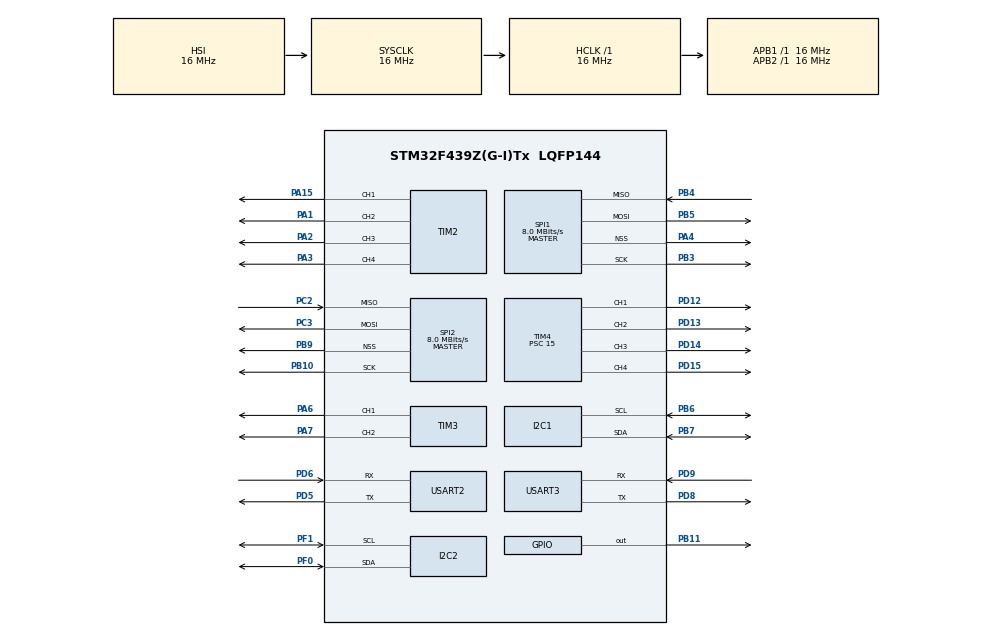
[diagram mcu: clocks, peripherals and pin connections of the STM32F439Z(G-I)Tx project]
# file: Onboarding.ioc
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Mcu.Family=STM32F4
Mcu.Name=STM32F439Z(G-I)Tx
Mcu.Package=LQFP144
NVIC.PriorityGroup=NVIC_PRIORITYGROUP_4
NVIC.TIM4_IRQn=true\:0\:0\:false\:false\:true\:true\:true\:true
PA0/WKUP.Mode=SYS_WakeUp0
PA0/WKUP.Signal=SYS_WKUP
PA1.Signal=S_TIM2_CH2
PA13.Signal=SYS_JTMS-SWDIO
PA14.Signal=SYS_JTCK-SWCLK
PA15.Signal=S_TIM2_CH1_ETR
PA2.Signal=S_TIM2_CH3
PA3.Signal=S_TIM2_CH4
PA4.Mode=NSS_Signal_Hard_Output
PA4.Signal=SPI1_NSS
PA6.Signal=S_TIM3_CH1
PA7.Signal=S_TIM3_CH2
PB10.Mode=Full_Duplex_Master
PB10.Signal=SPI2_SCK
PB11.GPIO_ModeDefaultOutputPP=GPIO_MODE_OUTPUT_OD
PB11.GPIO_PuPd=GPIO_NOPULL
PB11.GPIO_Speed=GPIO_SPEED_FREQ_VERY_HIGH
PB11.Signal=GPIO_Output
PB3.Mode=Full_Duplex_Master
PB3.Signal=SPI1_SCK
PB4.Mode=Full_Duplex_Master
PB4.Signal=SPI1_MISO
PB5.Mode=Full_Duplex_Master
PB5.Signal=SPI1_MOSI
PB6.Mode=I2C
PB6.Signal=I2C1_SCL
PB7.Mode=I2C
PB7.Signal=I2C1_SDA
PB9.Mode=NSS_Signal_Hard_Output
PB9.Signal=SPI2_NSS
PC2.Mode=Full_Duplex_Master
PC2.Signal=SPI2_MISO
PC3.Mode=Full_Duplex_Master
PC3.Signal=SPI2_MOSI
PD12.Signal=S_TIM4_CH1
PD13.Signal=S_TIM4_CH2
PD14.Signal=S_TIM4_CH3
PD15.Signal=S_TIM4_CH4
PD5.Mode=Asynchronous
PD5.Signal=USART2_TX
PD6.Mode=Asynchronous
PD6.Signal=USART2_RX
PD8.Mode=Asynchronous
PD8.Signal=USART3_TX
PD9.Mode=Asynchronous
PD9.Signal=USART3_RX
PF0.Mode=I2C
PF0.Signal=I2C2_SDA
PF1.Mode=I2C
PF1.Signal=I2C2_SCL
ProjectManager.HeapSize=0x200
ProjectManager.StackSize=0x400
ProjectManager.TargetToolchain=STM32CubeIDE
RCC.48MHZClocksFreq_Value=48000000
RCC.AHBFreq_Value=16000000
RCC.APB1Freq_Value=16000000
RCC.APB2Freq_Value=16000000
RCC.CortexFreq_Value=16000000
RCC.HSE_VALUE=25000000
RCC.HSI_VALUE=16000000
RCC.LSE_VALUE=32768
RCC.PLLM=15
RCC.PLLN=144
RCC.PLLQ=5
RCC.PLLSourceVirtual=RCC_PLLSOURCE_HSE
RCC.SYSCLKFreq_VALUE=16000000
RCC.VCOOutputFreq_Value=240000000
SH.S_TIM2_CH1_ETR.0=TIM2_CH1,Output Compare1 CH1
SH.S_TIM2_CH2.0=TIM2_CH2,Output Compare2 CH2
SH.S_TIM2_CH3.0=TIM2_CH3,Output Compare3 CH3
SH.S_TIM2_CH4.0=TIM2_CH4,Output Compare4 CH4
SH.S_TIM3_CH1.0=TIM3_CH1,Output Compare1 CH1
SH.S_TIM3_CH2.0=TIM3_CH2,Output Compare2 CH2
SH.S_TIM4_CH1.0=TIM4_CH1,Output Compare1 CH1
SH.S_TIM4_CH2.0=TIM4_CH2,Output Compare2 CH2
SH.S_TIM4_CH3.0=TIM4_CH3,Output Compare3 CH3
SH.S_TIM4_CH4.0=TIM4_CH4,Output Compare4 CH4
SPI1.CalculateBaudRate=8.0 MBits/s
SPI1.Direction=SPI_DIRECTION_2LINES
SPI1.Mode=SPI_MODE_MASTER
SPI1.VirtualNSS=VM_NSSHARD
SPI1.VirtualType=VM_MASTER
SPI2.CalculateBaudRate=8.0 MBits/s
SPI2.Direction=SPI_DIRECTION_2LINES
SPI2.Mode=SPI_MODE_MASTER
SPI2.VirtualNSS=VM_NSSHARD
SPI2.VirtualType=VM_MASTER
TIM2.Channel-Output\ Compare1\ CH1=TIM_CHANNEL_1
TIM2.Channel-Output\ Compare2\ CH2=TIM_CHANNEL_2
TIM2.Channel-Output\ Compare3\ CH3=TIM_CHANNEL_3
TIM2.Channel-Output\ Compare4\ CH4=TIM_CHANNEL_4
TIM3.Channel-Output\ Compare1\ CH1=TIM_CHANNEL_1
TIM3.Channel-Output\ Compare2\ CH2=TIM_CHANNEL_2
TIM4.Channel-Output\ Compare1\ CH1=TIM_CHANNEL_1
TIM4.Channel-Output\ Compare2\ CH2=TIM_CHANNEL_2
TIM4.Channel-Output\ Compare3\ CH3=TIM_CHANNEL_3
TIM4.Channel-Output\ Compare4\ CH4=TIM_CHANNEL_4
TIM4.Prescaler=15
USART2.VirtualMode=VM_ASYNC
USART3.VirtualMode=VM_ASYNC
VP_TIM2_VS_ClockSourceINT.Mode=Internal
VP_TIM3_VS_ClockSourceINT.Mode=Internal
VP_TIM4_VS_ClockSourceINT.Mode=Internal
board=custom

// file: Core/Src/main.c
/* USER CODE BEGIN Header */
/**
  ******************************************************************************
  * @file           : main.c
  * @brief          : Main program body
  ******************************************************************************
  * @attention
  *
  * Copyright (c) 2025 STMicroelectronics.
  * All rights reserved.
  *
  * This software is licensed under terms that can be found in the LICENSE file
  * in the root directory of this software component.
  * If no LICENSE file comes with this software, it is provided AS-IS.
  *
  ******************************************************************************
  */
/* USER CODE END Header */
#include "main.h"

/* USER CODE BEGIN Includes */
#include "usbd_cdc_if.h"
#include "timer.h"
#include "probe.h"
/* USER CODE END Includes */

I2C_HandleTypeDef hi2c1;
I2C_HandleTypeDef hi2c2;

SPI_HandleTypeDef hspi1;
SPI_HandleTypeDef hspi2;

TIM_HandleTypeDef htim2;
TIM_HandleTypeDef htim3;
TIM_HandleTypeDef htim4;

UART_HandleTypeDef huart2;
UART_HandleTypeDef huart3;

/* USER CODE BEGIN PV */
uint8_t buffer[64];
/* USER CODE END PV */

void SystemClock_Config(void);
static void MX_GPIO_Init(void);
static void MX_TIM4_Init(void);
static void MX_USART3_UART_Init(void);
static void MX_I2C1_Init(void);
static void MX_I2C2_Init(void);
static void MX_SPI1_Init(void);
static void MX_SPI2_Init(void);
static void MX_TIM2_Init(void);
static void MX_TIM3_Init(void);
static void MX_USART2_UART_Init(void);

int main(void)
{

  /* MCU Configuration--------------------------------------------------------*/

  /* Reset of all peripherals, Initializes the Flash interface and the Systick. */
  HAL_Init();

  /* Configure the system clock */
  SystemClock_Config();

  /* Initialize all configured peripherals */
  MX_GPIO_Init();
  MX_TIM4_Init();
  MX_USART3_UART_Init();
  MX_I2C1_Init();
  MX_I2C2_Init();
  MX_SPI1_Init();
  MX_SPI2_Init();
  MX_TIM2_Init();
  MX_TIM3_Init();
  MX_USART2_UART_Init();
  /* USER CODE BEGIN 2 */
  //TempProbe_Init(GPIOB, GPIO_PIN_9);
  //TempProbe_Start();
  timer_init();
  uint8_t message[] = "Not Connected\n\r";
  uint32_t response = 0;
  uint8_t response_byte = 0;
  /* USER CODE END 2 */

  /* Infinite loop */
  while (1)
  {

    /* USER CODE BEGIN 3 */
	  GPIOB->ODR |= GPIO_PIN_11;
	  HAL_Delay(1000);
	  GPIOB->ODR &= ~GPIO_PIN_11;
	  timer_delay(500);
	  GPIOB->ODR |= GPIO_PIN_11;
	  timer_delay(100);
	  response = (GPIOB->IDR & GPIO_PIN_11) >> 11;
	  timer_delay(500);
	  if(response){
		  //not connected
		  HAL_UART_Transmit(&huart3, message, sizeof(message), 1);
	  }else{
		  //connected
		  probe_write_byte(0xCC);
		  probe_write_byte(0x44);
		  HAL_Delay(1000);
		  probe_write_byte(0xBE);
		  response_byte = probe_read_byte();

		  HAL_UART_Transmit(&huart3, response_byte, sizeof(response_byte), 1);
	  }
	  //HAL_UART_Transmit(&huart3, message, sizeof(message), 1);
	  //CDC_Transmit_FS(message, sizeof(message) - 1);
  }
  /* USER CODE END 3 */
}

void SystemClock_Config(void)
{
  RCC_OscInitTypeDef RCC_OscInitStruct = {0};
  RCC_ClkInitTypeDef RCC_ClkInitStruct = {0};

  /** Configure the main internal regulator output voltage
  */
  __HAL_RCC_PWR_CLK_ENABLE();
  __HAL_PWR_VOLTAGESCALING_CONFIG(PWR_REGULATOR_VOLTAGE_SCALE3);

  /** Initializes the RCC Oscillators according to the specified parameters
  * in the RCC_OscInitTypeDef structure.
  */
  RCC_OscInitStruct.OscillatorType = RCC_OSCILLATORTYPE_HSI;
  RCC_OscInitStruct.HSIState = RCC_HSI_ON;
  RCC_OscInitStruct.HSICalibrationValue = RCC_HSICALIBRATION_DEFAULT;
  RCC_OscInitStruct.PLL.PLLState = RCC_PLL_NONE;
  if (HAL_RCC_OscConfig(&RCC_OscInitStruct) != HAL_OK)
  {
    Error_Handler();
  }

  /** Initializes the CPU, AHB and APB buses clocks
  */
  RCC_ClkInitStruct.ClockType = RCC_CLOCKTYPE_HCLK|RCC_CLOCKTYPE_SYSCLK
                              |RCC_CLOCKTYPE_PCLK1|RCC_CLOCKTYPE_PCLK2;
  RCC_ClkInitStruct.SYSCLKSource = RCC_SYSCLKSOURCE_HSI;
  RCC_ClkInitStruct.AHBCLKDivider = RCC_SYSCLK_DIV1;
  RCC_ClkInitStruct.APB1CLKDivider = RCC_HCLK_DIV1;
  RCC_ClkInitStruct.APB2CLKDivider = RCC_HCLK_DIV1;

  if (HAL_RCC_ClockConfig(&RCC_ClkInitStruct, FLASH_LATENCY_0) != HAL_OK)
  {
    Error_Handler();
  }
}

static void MX_I2C1_Init(void)
{

  hi2c1.Instance = I2C1;
  hi2c1.Init.ClockSpeed = 100000;
  hi2c1.Init.DutyCycle = I2C_DUTYCYCLE_2;
  hi2c1.Init.OwnAddress1 = 0;
  hi2c1.Init.AddressingMode = I2C_ADDRESSINGMODE_7BIT;
  hi2c1.Init.DualAddressMode = I2C_DUALADDRESS_DISABLE;
  hi2c1.Init.OwnAddress2 = 0;
  hi2c1.Init.GeneralCallMode = I2C_GENERALCALL_DISABLE;
  hi2c1.Init.NoStretchMode = I2C_NOSTRETCH_DISABLE;
  if (HAL_I2C_Init(&hi2c1) != HAL_OK)
  {
    Error_Handler();
  }

  /** Configure Analogue filter
  */
  if (HAL_I2CEx_ConfigAnalogFilter(&hi2c1, I2C_ANALOGFILTER_ENABLE) != HAL_OK)
  {
    Error_Handler();
  }

  /** Configure Digital filter
  */
  if (HAL_I2CEx_ConfigDigitalFilter(&hi2c1, 0) != HAL_OK)
  {
    Error_Handler();
  }

}

static void MX_I2C2_Init(void)
{

  hi2c2.Instance = I2C2;
  hi2c2.Init.ClockSpeed = 100000;
  hi2c2.Init.DutyCycle = I2C_DUTYCYCLE_2;
  hi2c2.Init.OwnAddress1 = 0;
  hi2c2.Init.AddressingMode = I2C_ADDRESSINGMODE_7BIT;
  hi2c2.Init.DualAddressMode = I2C_DUALADDRESS_DISABLE;
  hi2c2.Init.OwnAddress2 = 0;
  hi2c2.Init.GeneralCallMode = I2C_GENERALCALL_DISABLE;
  hi2c2.Init.NoStretchMode = I2C_NOSTRETCH_DISABLE;
  if (HAL_I2C_Init(&hi2c2) != HAL_OK)
  {
    Error_Handler();
  }

  /** Configure Analogue filter
  */
  if (HAL_I2CEx_ConfigAnalogFilter(&hi2c2, I2C_ANALOGFILTER_ENABLE) != HAL_OK)
  {
    Error_Handler();
  }

  /** Configure Digital filter
  */
  if (HAL_I2CEx_ConfigDigitalFilter(&hi2c2, 0) != HAL_OK)
  {
    Error_Handler();
  }

}

static void MX_SPI1_Init(void)
{

  /* SPI1 parameter configuration*/
  hspi1.Instance = SPI1;
  hspi1.Init.Mode = SPI_MODE_MASTER;
  hspi1.Init.Direction = SPI_DIRECTION_2LINES;
  hspi1.Init.DataSize = SPI_DATASIZE_8BIT;
  hspi1.Init.CLKPolarity = SPI_POLARITY_LOW;
  hspi1.Init.CLKPhase = SPI_PHASE_1EDGE;
  hspi1.Init.NSS = SPI_NSS_HARD_OUTPUT;
  hspi1.Init.BaudRatePrescaler = SPI_BAUDRATEPRESCALER_2;
  hspi1.Init.FirstBit = SPI_FIRSTBIT_MSB;
  hspi1.Init.TIMode = SPI_TIMODE_DISABLE;
  hspi1.Init.CRCCalculation = SPI_CRCCALCULATION_DISABLE;
  hspi1.Init.CRCPolynomial = 10;
  if (HAL_SPI_Init(&hspi1) != HAL_OK)
  {
    Error_Handler();
  }

}

static void MX_SPI2_Init(void)
{

  /* SPI2 parameter configuration*/
  hspi2.Instance = SPI2;
  hspi2.Init.Mode = SPI_MODE_MASTER;
  hspi2.Init.Direction = SPI_DIRECTION_2LINES;
  hspi2.Init.DataSize = SPI_DATASIZE_8BIT;
  hspi2.Init.CLKPolarity = SPI_POLARITY_LOW;
  hspi2.Init.CLKPhase = SPI_PHASE_1EDGE;
  hspi2.Init.NSS = SPI_NSS_HARD_OUTPUT;
  hspi2.Init.BaudRatePrescaler = SPI_BAUDRATEPRESCALER_2;
  hspi2.Init.FirstBit = SPI_FIRSTBIT_MSB;
  hspi2.Init.TIMode = SPI_TIMODE_DISABLE;
  hspi2.Init.CRCCalculation = SPI_CRCCALCULATION_DISABLE;
  hspi2.Init.CRCPolynomial = 10;
  if (HAL_SPI_Init(&hspi2) != HAL_OK)
  {
    Error_Handler();
  }

}

static void MX_TIM2_Init(void)
{

  TIM_ClockConfigTypeDef sClockSourceConfig = {0};
  TIM_MasterConfigTypeDef sMasterConfig = {0};
  TIM_OC_InitTypeDef sConfigOC = {0};

  htim2.Instance = TIM2;
  htim2.Init.Prescaler = 0;
  htim2.Init.CounterMode = TIM_COUNTERMODE_UP;
  htim2.Init.Period = 4294967295;
  htim2.Init.ClockDivision = TIM_CLOCKDIVISION_DIV1;
  htim2.Init.AutoReloadPreload = TIM_AUTORELOAD_PRELOAD_DISABLE;
  if (HAL_TIM_Base_Init(&htim2) != HAL_OK)
  {
    Error_Handler();
  }
  sClockSourceConfig.ClockSource = TIM_CLOCKSOURCE_INTERNAL;
  if (HAL_TIM_ConfigClockSource(&htim2, &sClockSourceConfig) != HAL_OK)
  {
    Error_Handler();
  }
  if (HAL_TIM_OC_Init(&htim2) != HAL_OK)
  {
    Error_Handler();
  }
  sMasterConfig.MasterOutputTrigger = TIM_TRGO_RESET;
  sMasterConfig.MasterSlaveMode = TIM_MASTERSLAVEMODE_DISABLE;
  if (HAL_TIMEx_MasterConfigSynchronization(&htim2, &sMasterConfig) != HAL_OK)
  {
    Error_Handler();
  }
  sConfigOC.OCMode = TIM_OCMODE_TIMING;
  sConfigOC.Pulse = 0;
  sConfigOC.OCPolarity = TIM_OCPOLARITY_HIGH;
  sConfigOC.OCFastMode = TIM_OCFAST_DISABLE;
  if (HAL_TIM_OC_ConfigChannel(&htim2, &sConfigOC, TIM_CHANNEL_1) != HAL_OK)
  {
    Error_Handler();
  }
  if (HAL_TIM_OC_ConfigChannel(&htim2, &sConfigOC, TIM_CHANNEL_2) != HAL_OK)
  {
    Error_Handler();
  }
  if (HAL_TIM_OC_ConfigChannel(&htim2, &sConfigOC, TIM_CHANNEL_3) != HAL_OK)
  {
    Error_Handler();
  }
  if (HAL_TIM_OC_ConfigChannel(&htim2, &sConfigOC, TIM_CHANNEL_4) != HAL_OK)
  {
    Error_Handler();
  }
  HAL_TIM_MspPostInit(&htim2);

}

static void MX_TIM3_Init(void)
{

  TIM_ClockConfigTypeDef sClockSourceConfig = {0};
  TIM_MasterConfigTypeDef sMasterConfig = {0};
  TIM_OC_InitTypeDef sConfigOC = {0};

  htim3.Instance = TIM3;
  htim3.Init.Prescaler = 0;
  htim3.Init.CounterMode = TIM_COUNTERMODE_UP;
  htim3.Init.Period = 65535;
  htim3.Init.ClockDivision = TIM_CLOCKDIVISION_DIV1;
  htim3.Init.AutoReloadPreload = TIM_AUTORELOAD_PRELOAD_DISABLE;
  if (HAL_TIM_Base_Init(&htim3) != HAL_OK)
  {
    Error_Handler();
  }
  sClockSourceConfig.ClockSource = TIM_CLOCKSOURCE_INTERNAL;
  if (HAL_TIM_ConfigClockSource(&htim3, &sClockSourceConfig) != HAL_OK)
  {
    Error_Handler();
  }
  if (HAL_TIM_OC_Init(&htim3) != HAL_OK)
  {
    Error_Handler();
  }
  sMasterConfig.MasterOutputTrigger = TIM_TRGO_RESET;
  sMasterConfig.MasterSlaveMode = TIM_MASTERSLAVEMODE_DISABLE;
  if (HAL_TIMEx_MasterConfigSynchronization(&htim3, &sMasterConfig) != HAL_OK)
  {
    Error_Handler();
  }
  sConfigOC.OCMode = TIM_OCMODE_TIMING;
  sConfigOC.Pulse = 0;
  sConfigOC.OCPolarity = TIM_OCPOLARITY_HIGH;
  sConfigOC.OCFastMode = TIM_OCFAST_DISABLE;
  if (HAL_TIM_OC_ConfigChannel(&htim3, &sConfigOC, TIM_CHANNEL_1) != HAL_OK)
  {
    Error_Handler();
  }
  if (HAL_TIM_OC_ConfigChannel(&htim3, &sConfigOC, TIM_CHANNEL_2) != HAL_OK)
  {
    Error_Handler();
  }
  HAL_TIM_MspPostInit(&htim3);

}

static void MX_TIM4_Init(void)
{

  TIM_ClockConfigTypeDef sClockSourceConfig = {0};
  TIM_MasterConfigTypeDef sMasterConfig = {0};
  TIM_OC_InitTypeDef sConfigOC = {0};

  htim4.Instance = TIM4;
  htim4.Init.Prescaler = 15;
  htim4.Init.CounterMode = TIM_COUNTERMODE_UP;
  htim4.Init.Period = 65535;
  htim4.Init.ClockDivision = TIM_CLOCKDIVISION_DIV1;
  htim4.Init.AutoReloadPreload = TIM_AUTORELOAD_PRELOAD_DISABLE;
  if (HAL_TIM_Base_Init(&htim4) != HAL_OK)
  {
    Error_Handler();
  }
  sClockSourceConfig.ClockSource = TIM_CLOCKSOURCE_INTERNAL;
  if (HAL_TIM_ConfigClockSource(&htim4, &sClockSourceConfig) != HAL_OK)
  {
    Error_Handler();
  }
  if (HAL_TIM_OC_Init(&htim4) != HAL_OK)
  {
    Error_Handler();
  }
  sMasterConfig.MasterOutputTrigger = TIM_TRGO_RESET;
  sMasterConfig.MasterSlaveMode = TIM_MASTERSLAVEMODE_DISABLE;
  if (HAL_TIMEx_MasterConfigSynchronization(&htim4, &sMasterConfig) != HAL_OK)
  {
    Error_Handler();
  }
  sConfigOC.OCMode = TIM_OCMODE_TIMING;
  sConfigOC.Pulse = 0;
  sConfigOC.OCPolarity = TIM_OCPOLARITY_HIGH;
  sConfigOC.OCFastMode = TIM_OCFAST_DISABLE;
  if (HAL_TIM_OC_ConfigChannel(&htim4, &sConfigOC, TIM_CHANNEL_1) != HAL_OK)
  {
    Error_Handler();
  }
  if (HAL_TIM_OC_ConfigChannel(&htim4, &sConfigOC, TIM_CHANNEL_2) != HAL_OK)
  {
    Error_Handler();
  }
  if (HAL_TIM_OC_ConfigChannel(&htim4, &sConfigOC, TIM_CHANNEL_3) != HAL_OK)
  {
    Error_Handler();
  }
  if (HAL_TIM_OC_ConfigChannel(&htim4, &sConfigOC, TIM_CHANNEL_4) != HAL_OK)
  {
    Error_Handler();
  }
  HAL_TIM_MspPostInit(&htim4);

}

static void MX_USART2_UART_Init(void)
{

  huart2.Instance = USART2;
  huart2.Init.BaudRate = 115200;
  huart2.Init.WordLength = UART_WORDLENGTH_8B;
  huart2.Init.StopBits = UART_STOPBITS_1;
  huart2.Init.Parity = UART_PARITY_NONE;
  huart2.Init.Mode = UART_MODE_TX_RX;
  huart2.Init.HwFlowCtl = UART_HWCONTROL_NONE;
  huart2.Init.OverSampling = UART_OVERSAMPLING_16;
  if (HAL_UART_Init(&huart2) != HAL_OK)
  {
    Error_Handler();
  }

}

static void MX_USART3_UART_Init(void)
{

  huart3.Instance = USART3;
  huart3.Init.BaudRate = 115200;
  huart3.Init.WordLength = UART_WORDLENGTH_8B;
  huart3.Init.StopBits = UART_STOPBITS_1;
  huart3.Init.Parity = UART_PARITY_NONE;
  huart3.Init.Mode = UART_MODE_TX_RX;
  huart3.Init.HwFlowCtl = UART_HWCONTROL_NONE;
  huart3.Init.OverSampling = UART_OVERSAMPLING_16;
  if (HAL_UART_Init(&huart3) != HAL_OK)
  {
    Error_Handler();
  }

}

static void MX_GPIO_Init(void)
{
  GPIO_InitTypeDef GPIO_InitStruct = {0};

  /* GPIO Ports Clock Enable */
  __HAL_RCC_GPIOF_CLK_ENABLE();
  __HAL_RCC_GPIOC_CLK_ENABLE();
  __HAL_RCC_GPIOA_CLK_ENABLE();
  __HAL_RCC_GPIOB_CLK_ENABLE();
  __HAL_RCC_GPIOD_CLK_ENABLE();

  /*Configure GPIO pin Output Level */
  HAL_GPIO_WritePin(GPIOB, GPIO_PIN_11, GPIO_PIN_RESET);

  /*Configure GPIO pin : PB11 */
  GPIO_InitStruct.Pin = GPIO_PIN_11;
  GPIO_InitStruct.Mode = GPIO_MODE_OUTPUT_OD;
  GPIO_InitStruct.Pull = GPIO_NOPULL;
  GPIO_InitStruct.Speed = GPIO_SPEED_FREQ_VERY_HIGH;
  HAL_GPIO_Init(GPIOB, &GPIO_InitStruct);

}

void Error_Handler(void)
{
  __disable_irq();
  while (1)
  {
  }
}
